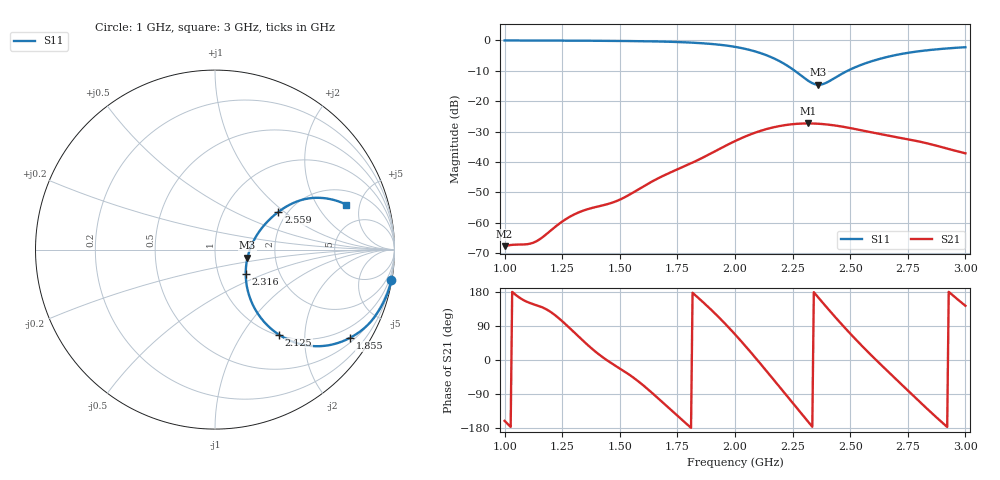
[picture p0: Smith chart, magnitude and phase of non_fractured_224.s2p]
! TOUCHSTONE file generated by CST MICROWAVE STUDIO
! Date and time: Sat Mar  8 13:55:36 2025
! Project name: non_fractured.cst
! Parameters = {B=2.5; D=160; F=20; Feed=2.85625; L=100; M=20; R=0.384908; S=2.5; Theta=270; length=57.125; wave=114.25}
! Header version: 2024
! Port assignment regex: !\s*Touchstone port\s*([0-9]+)\s*=\s*(CST MWS port|CST DES external port|CST DES block port)\s*(.+)\s* \(\"(.*)\"\)(\s*mode\s*([0-9]+))?.*
! Touchstone port assignment:
! Touchstone port 1 = CST MWS port 1 ("")
! Touchstone port 2 = CST MWS port 2 ("")
# GHz S DB R 50
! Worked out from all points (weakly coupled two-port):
!   305 points, 1 GHz to 3 GHz, reference 50 ohm
!   highest |S21| = -27.31 dB at 2.316 GHz (marker M1); lowest = -67.7 dB at 1 GHz (marker M2)
!   lowest |S11| = -14.6 dB at 2.362 GHz (marker M3), VSWR 1.46, Z = 71.7 - j6.73 ohm
!   |S11| at or under -10 dB: 2.26 GHz to 2.488 GHz (228.9 MHz wide, 9.64 % of centre)
!   S12 and S22 are empty: the file has one direction only
!   S11 on the Smith chart (normalised r, x): 1 GHz: 0, -12; 1.855 GHz: 0.63, -3.25; 2.125 GHz: 1.02, -1.48; 2.316 GHz: 1.35, -0.39; 2.559 GHz: 1.80, +0.91; 3 GHz: 3.00, +3.72
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1  -0.02 -9.8  -67.69 -160.6  -200.00 0.0  -200.00 0.0
1.09868  -0.03 -11.1  -67.03 153.1  -200.00 0.0  -200.00 0.0
1.13158  -0.04 -11.6  -66.32 146.1  -200.00 0.0  -200.00 0.0
1.16447  -0.04 -12.1  -64.76 138.8  -200.00 0.0  -200.00 0.0
1.26316  -0.07 -13.8  -58.92 95.2  -200.00 0.0  -200.00 0.0
1.33553  -0.10 -15.1  -56.15 53.6  -200.00 0.0  -200.00 0.0
1.49342  -0.18 -18.7  -52.61 -19.8  -200.00 0.0  -200.00 0.0
1.67105  -0.36 -24.3  -45.19 -103.7  -200.00 0.0  -200.00 0.0
1.85526  -0.93 -33.2  -38.75 156.0  -200.00 0.0  -200.00 0.0
2  -2.12 -43.4  -33.12 67.8  -200.00 0.0  -200.00 0.0
2.06579  -3.17 -48.7  -30.96 22.3  -200.00 0.0  -200.00 0.0
2.125  -4.55 -53.1  -29.43 -20.5  -200.00 0.0  -200.00 0.0
2.21711  -7.85 -56.1  -27.87 -88.7  -200.00 0.0  -200.00 0.0
2.31579  -13.19 -38.7  -27.31 -161.8  -200.00 0.0  -200.00 0.0
2.33553  -14.07 -29.2  -27.33 -176.2  -200.00 0.0  -200.00 0.0
2.36184  -14.58 -14.0  -27.42 164.7  -200.00 0.0  -200.00 0.0
2.39474  -13.98 4.0  -27.62 141.3  -200.00 0.0  -200.00 0.0
2.45395  -11.42 22.5  -28.22 100.3  -200.00 0.0  -200.00 0.0
2.55921  -7.72 30.8  -29.73 32.2  -200.00 0.0  -200.00 0.0
2.67105  -5.26 30.1  -31.39 -34.5  -200.00 0.0  -200.00 0.0
2.80921  -3.47 25.3  -33.43 -114.6  -200.00 0.0  -200.00 0.0
3  -2.24 18.8  -37.14 143.1  -200.00 0.0  -200.00 0.0
